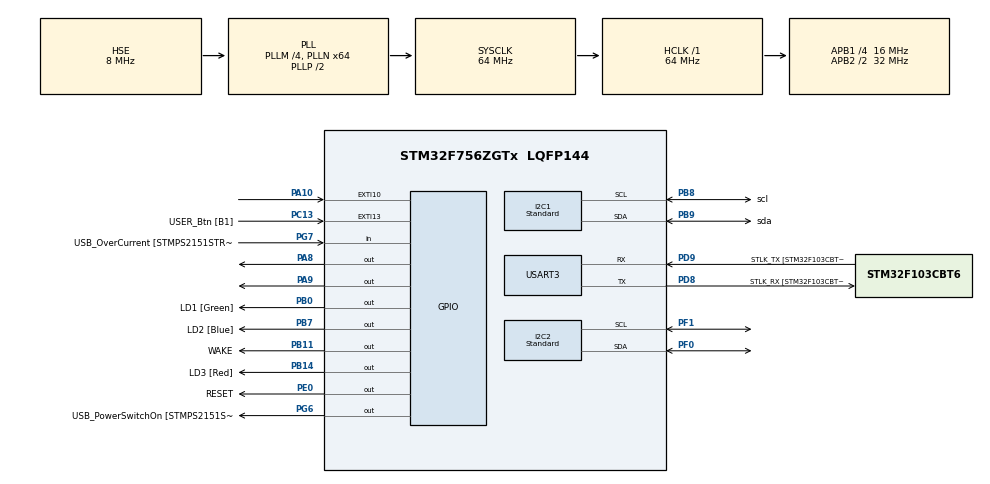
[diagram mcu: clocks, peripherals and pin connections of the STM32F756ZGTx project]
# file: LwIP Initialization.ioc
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I2C1.Analog_Filter=I2C_ANALOGFILTER_DISABLE
I2C1.I2C_Fall_Time=0
I2C1.I2C_Rise_Time=0
I2C1.I2C_Speed_Mode=I2C_Standard
I2C1.NoStretchMode=I2C_NOSTRETCH_ENABLE
I2C1.Timing=0x00303D5D
I2C2.Analog_Filter=I2C_ANALOGFILTER_DISABLE
I2C2.DualAddressMode=I2C_DUALADDRESS_DISABLE
I2C2.GeneralCallMode=I2C_GENERALCALL_DISABLE
I2C2.I2C_Speed_Mode=I2C_Standard
I2C2.NoStretchMode=I2C_NOSTRETCH_DISABLE
I2C2.Timing=0x00303D5D
Mcu.Family=STM32F7
Mcu.Name=STM32F756ZGTx
Mcu.Package=LQFP144
NVIC.PriorityGroup=NVIC_PRIORITYGROUP_4
PA1.GPIO_Label=RMII_REF_CLK [LAN8742A-CZ-TR_REFCLK0]
PA1.Signal=ETH_REF_CLK
PA10.Signal=GPXTI10
PA13.GPIO_Label=TMS
PA13.Mode=Serial_Wire
PA13.Signal=SYS_JTMS-SWDIO
PA14.GPIO_Label=TCK
PA14.Mode=Serial_Wire
PA14.Signal=SYS_JTCK-SWCLK
PA2.GPIO_Label=RMII_MDIO [LAN8742A-CZ-TR_MDIO]
PA2.Signal=ETH_MDIO
PA7.GPIO_Label=RMII_CRS_DV [LAN8742A-CZ-TR_CRS_DV]
PA7.Signal=ETH_CRS_DV
PA8.Signal=GPIO_Output
PA9.Signal=GPIO_Output
PB0.GPIO_Label=LD1 [Green]
PB0.Signal=GPIO_Output
PB11.GPIO_Label=WAKE
PB11.Signal=GPIO_Output
PB13.GPIO_Label=RMII_TXD1 [LAN8742A-CZ-TR_TXD1]
PB13.Signal=ETH_TXD1
PB14.GPIO_Label=LD3 [Red]
PB14.Signal=GPIO_Output
PB3.GPIO_Label=SWO
PB3.Signal=SYS_JTDO-SWO
PB7.GPIO_Label=LD2 [Blue]
PB7.Signal=GPIO_Output
PB8.GPIO_Label=scl
PB8.GPIO_Mode=GPIO_MODE_AF_OD
PB8.GPIO_Pu=GPIO_PULLUP
PB8.GPIO_Speed=GPIO_SPEED_FREQ_HIGH
PB8.Mode=I2C
PB8.Signal=I2C1_SCL
PB9.GPIO_Label=sda
PB9.GPIO_Mode=GPIO_MODE_AF_OD
PB9.GPIO_Pu=GPIO_PULLUP
PB9.GPIO_Speed=GPIO_SPEED_FREQ_HIGH
PB9.Mode=I2C
PB9.Signal=I2C1_SDA
PC1.GPIO_Label=RMII_MDC [LAN8742A-CZ-TR_MDC]
PC1.Signal=ETH_MDC
PC13.GPIO_Label=USER_Btn [B1]
PC13.Signal=GPXTI13
PC14/OSC32_IN.Mode=LSE-External-Oscillator
PC14/OSC32_IN.Signal=RCC_OSC32_IN
PC15/OSC32_OUT.Mode=LSE-External-Oscillator
PC15/OSC32_OUT.Signal=RCC_OSC32_OUT
PC4.GPIO_Label=RMII_RXD0 [LAN8742A-CZ-TR_RXD0]
PC4.Signal=ETH_RXD0
PC5.GPIO_Label=RMII_RXD1 [LAN8742A-CZ-TR_RXD1]
PC5.Signal=ETH_RXD1
PD8.GPIO_Label=STLK_RX [STM32F103CBT6_PA3]
PD8.Mode=Asynchronous
PD8.Signal=USART3_TX
PD9.GPIO_Label=STLK_TX [STM32F103CBT6_PA2]
PD9.Mode=Asynchronous
PD9.Signal=USART3_RX
PE0.GPIO_Label=RESET
PE0.Signal=GPIO_Output
PF0.GPIO_Pu=GPIO_PULLUP
PF0.GPIO_Speed=GPIO_SPEED_FREQ_HIGH
PF0.Mode=I2C
PF0.Signal=I2C2_SDA
PF1.GPIO_Pu=GPIO_PULLUP
PF1.GPIO_Speed=GPIO_SPEED_FREQ_HIGH
PF1.Mode=I2C
PF1.Signal=I2C2_SCL
PG11.GPIO_Label=RMII_TX_EN [LAN8742A-CZ-TR_TXEN]
PG11.Signal=ETH_TX_EN
PG13.GPIO_Label=RMII_TXD0 [LAN8742A-CZ-TR_TXD0]
PG13.Signal=ETH_TXD0
PG6.GPIO_Label=USB_PowerSwitchOn [STMPS2151STR_EN]
PG6.Signal=GPIO_Output
PG7.GPIO_Label=USB_OverCurrent [STMPS2151STR_FAULT]
PG7.Signal=GPIO_Input
PH0/OSC_IN.GPIO_Label=MCO [STM32F103CBT6_PA8]
PH0/OSC_IN.Mode=HSE-External-Clock-Source
PH0/OSC_IN.Signal=RCC_OSC_IN
PH1/OSC_OUT.Mode=HSE-External-Clock-Source
PH1/OSC_OUT.Signal=RCC_OSC_OUT
ProjectManager.HeapSize=0x200
ProjectManager.StackSize=0x400
ProjectManager.TargetToolchain=STM32CubeIDE
RCC.AHBFreq_Value=64000000
RCC.APB1CLKDivider=RCC_HCLK_DIV4
RCC.APB1Freq_Value=16000000
RCC.APB1TimFreq_Value=32000000
RCC.APB2CLKDivider=RCC_HCLK_DIV2
RCC.APB2Freq_Value=32000000
RCC.APB2TimFreq_Value=64000000
RCC.CortexFreq_Value=64000000
RCC.HCLKFreq_Value=64000000
RCC.HSE_VALUE=8000000
RCC.HSI_VALUE=16000000
RCC.PLLM=4
RCC.PLLN=64
RCC.PLLQ=9
RCC.PLLSourceVirtual=RCC_PLLSOURCE_HSE
RCC.SYSCLKFreq_VALUE=64000000
RCC.SYSCLKSource=RCC_SYSCLKSOURCE_PLLCLK
RCC.USBFreq_Value=14222222.222222222
RCC.VCOOutputFreq_Value=128000000
USART3.VirtualMode-Asynchronous=VM_ASYNC
board=custom

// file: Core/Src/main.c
/* USER CODE BEGIN Header */
/**
  ******************************************************************************
  * @file           : main.c
  * @brief          : Main program body
  ******************************************************************************
  * @attention
  *
  * <h2><center>&copy; Copyright (c) 2021 STMicroelectronics.
  * All rights reserved.</center></h2>
  *
  * This software component is licensed by ST under BSD 3-Clause license,
  * the "License"; You may not use this file except in compliance with the
  * License. You may obtain a copy of the License at:
  *                        opensource.org/licenses/BSD-3-Clause
  *
  ******************************************************************************
  */
/* USER CODE END Header */
#include "main.h"
#include "i2c.h"
#include "usart.h"
#include "gpio.h"

/* USER CODE BEGIN Includes */
#include <stdio.h>
/* USER CODE END Includes */

void SystemClock_Config(void);
/* USER CODE BEGIN PFP */
void I2C_ClearBusyFlagErratum(I2C_HandleTypeDef *hi2c);
/* Direct printf to output somewhere */
#ifdef __GNUC__
#define PUTCHAR_PROTOTYPE int __io_putchar(int ch)
#else
#define PUTCHAR_PROTOTYPE int fputc(int ch, FILE *f)
#endif /* __GNUC__ */

#ifndef __UUID_H
#define __UUID_H
//#define STM32_UUID ((uint32_t *)0x1FF0F420)
#define STM32_UUID ((uint32_t *)UID_BASE)
#endif //__UUID_H

/* USER CODE END PFP */

/* USER CODE BEGIN 0 */
//void ethernetif_notify_conn_changed(struct netif *netif);
//static void MX_NVIC_Init(void);
/* USER CODE END 0 */

int main(void)
{

  /* MCU Configuration--------------------------------------------------------*/

  /* Reset of all peripherals, Initializes the Flash interface and the Systick. */
  HAL_Init();

  /* Configure the system clock */
  SystemClock_Config();

  /* Initialize all configured peripherals */
  MX_GPIO_Init();
  MX_USART3_UART_Init();
  MX_I2C1_Init();
  MX_I2C2_Init();
  /* USER CODE BEGIN 2 */
//  HAL_I2C_MspInit(&hi2c1);
//  I2C_ClearBusyFlagErratum(&hi2c1);
//  HAL_GPIO_WritePin(WAKE_GPIO_Port, WAKE_Pin, GPIO_PIN_SET);
//  HAL_Delay(100);
  HAL_GPIO_WritePin(WAKE_GPIO_Port, WAKE_Pin, GPIO_PIN_RESET);
  HAL_GPIO_WritePin(RESET_GPIO_Port, RESET_Pin, GPIO_PIN_RESET);

     char uart2Data[25] = "Connected to UART Three\r\n";
        /*
         * Output to uart2
         * use screen or putty or whatever terminal software
         * 8N1 115200
         */
        HAL_UART_Transmit(&huart3, (uint8_t *)&uart2Data,sizeof(uart2Data), 0xFFFF);

      	printf("\r\n");

      	printf("Scanning I2C bus:\r\n");
     	HAL_StatusTypeDef result;
      	uint8_t i;
      	for (i=1; i<128; i++)
      	{
      	  /*
      	   * the HAL wants a left aligned i2c address
      	   * &hi2c1 is the handle
      	   * (uint16_t)(i<<1) is the i2c address left aligned
      	   * retries 2
      	   * timeout 2
      	   */
      	  result = HAL_I2C_IsDeviceReady(&hi2c1, (uint16_t)(i<<1), 2, 2);
      	  if (result == HAL_BUSY)
      	  {
//      		I2C_ClearBusyFlagErratum(&hi2c1);
      		printf("HAL_BUSY\r\n"); // No ACK received at that address
      	  }
      	  if (result != HAL_OK) // HAL_ERROR or HAL_BUSY or HAL_TIMEOUT
      	  {
//      		I2C_ClearBusyFlagErratum(&hi2c1);
      		  printf("."); // No ACK received at that address
      	  }
      	  if (result == HAL_OK)
      	  {
      		  printf("0x%X", i); // Received an ACK at that address
      	  }

      	  result = HAL_I2C_IsDeviceReady(&hi2c2, (uint16_t)(i<<1), 2, 2);
      	  if (result != HAL_OK) // HAL_ERROR or HAL_BUSY or HAL_TIMEOUT
      	  {
      		  printf("."); // No ACK received at that address
      	  }
      	  if (result == HAL_OK)
      	  {
      		  printf("0x%X", i); // Received an ACK at that address
      	  }
      	}
      	printf("\r\n");

  /* USER CODE END 2 */

  /* Infinite loop */
  /* USER CODE BEGIN WHILE */
  while (1)
  {
//	  MX_LWIP_Process();
	  HAL_GPIO_TogglePin(LD1_GPIO_Port, LD1_Pin);
	  HAL_Delay(500);
    /* USER CODE END WHILE */

  }
}

void SystemClock_Config(void)
{
  RCC_OscInitTypeDef RCC_OscInitStruct = {0};
  RCC_ClkInitTypeDef RCC_ClkInitStruct = {0};

  /** Configure LSE Drive Capability
  */
  HAL_PWR_EnableBkUpAccess();
  /** Configure the main internal regulator output voltage
  */
  __HAL_RCC_PWR_CLK_ENABLE();
  __HAL_PWR_VOLTAGESCALING_CONFIG(PWR_REGULATOR_VOLTAGE_SCALE3);
  /** Initializes the RCC Oscillators according to the specified parameters
  * in the RCC_OscInitTypeDef structure.
  */
  RCC_OscInitStruct.OscillatorType = RCC_OSCILLATORTYPE_HSE;
  RCC_OscInitStruct.HSEState = RCC_HSE_BYPASS;
  RCC_OscInitStruct.PLL.PLLState = RCC_PLL_ON;
  RCC_OscInitStruct.PLL.PLLSource = RCC_PLLSOURCE_HSE;
  RCC_OscInitStruct.PLL.PLLM = 4;
  RCC_OscInitStruct.PLL.PLLN = 64;
  RCC_OscInitStruct.PLL.PLLP = RCC_PLLP_DIV2;
  RCC_OscInitStruct.PLL.PLLQ = 9;
  if (HAL_RCC_OscConfig(&RCC_OscInitStruct) != HAL_OK)
  {
    Error_Handler();
  }
  /** Initializes the CPU, AHB and APB buses clocks
  */
  RCC_ClkInitStruct.ClockType = RCC_CLOCKTYPE_HCLK|RCC_CLOCKTYPE_SYSCLK
                              |RCC_CLOCKTYPE_PCLK1|RCC_CLOCKTYPE_PCLK2;
  RCC_ClkInitStruct.SYSCLKSource = RCC_SYSCLKSOURCE_PLLCLK;
  RCC_ClkInitStruct.AHBCLKDivider = RCC_SYSCLK_DIV1;
  RCC_ClkInitStruct.APB1CLKDivider = RCC_HCLK_DIV4;
  RCC_ClkInitStruct.APB2CLKDivider = RCC_HCLK_DIV2;

  if (HAL_RCC_ClockConfig(&RCC_ClkInitStruct, FLASH_LATENCY_2) != HAL_OK)
  {
    Error_Handler();
  }
}

/* USER CODE BEGIN 4 */

PUTCHAR_PROTOTYPE
{
  /* Place your implementation of fputc here */
  /* e.g. write a character to the USART2 and Loop until the end of transmission */
  HAL_UART_Transmit(&huart3, (uint8_t *)&ch, 1, 0xFFFF);

  return ch;

}

void I2C_ClearBusyFlagErratum(I2C_HandleTypeDef *i2c) {
	static uint8_t resetTried = 0;
	if (resetTried == 1) {
		return;
	}

	uint32_t SDA_PIN = sda_Pin;
	uint32_t SCL_PIN = scl_Pin;
	GPIO_InitTypeDef GPIO_InitStruct;

	// 1. Clear PE bit.
	__HAL_I2C_DISABLE(i2c);

	//  2. Configure the SCL and SDA I/Os as General Purpose Output Open-Drain, High level (Write 1 to GPIOx_ODR).

	HAL_I2C_DeInit(i2c);
	GPIO_InitStruct.Pin = SCL_PIN | SDA_PIN;
	GPIO_InitStruct.Mode = GPIO_MODE_AF_OD;
	GPIO_InitStruct.Pull = GPIO_NOPULL;
	GPIO_InitStruct.Speed = GPIO_SPEED_FREQ_HIGH;
	GPIO_InitStruct.Alternate = GPIO_AF4_I2C1;
	HAL_GPIO_Init(GPIOB, &GPIO_InitStruct);

	HAL_GPIO_Init(scl_GPIO_Port, &GPIO_InitStruct);

	HAL_GPIO_Init(sda_GPIO_Port, &GPIO_InitStruct);

	// 3. Check SCL and SDA High level in GPIOx_IDR.

	HAL_GPIO_WritePin(scl_GPIO_Port, SCL_PIN, GPIO_PIN_SET);
	HAL_GPIO_WritePin(sda_GPIO_Port, SDA_PIN, GPIO_PIN_SET);

	while (GPIO_PIN_SET != HAL_GPIO_ReadPin(scl_GPIO_Port, SCL_PIN)) {
		asm("nop");
	}

	while (GPIO_PIN_SET != HAL_GPIO_ReadPin(sda_GPIO_Port, SDA_PIN)) {
		asm("nop");
	}

	// 4. Configure the SDA I/O as General Purpose Output Open-Drain, Low level (Write 0 to GPIOx_ODR).
	HAL_GPIO_WritePin(sda_GPIO_Port, SDA_PIN, GPIO_PIN_RESET);

	//  5. Check SDA Low level in GPIOx_IDR.
	while (GPIO_PIN_RESET != HAL_GPIO_ReadPin(sda_GPIO_Port, SDA_PIN)) {
		asm("nop");
	}

	// 6. Configure the SCL I/O as General Purpose Output Open-Drain, Low level (Write 0 to GPIOx_ODR).
	HAL_GPIO_WritePin(scl_GPIO_Port, SCL_PIN, GPIO_PIN_RESET);

	//  7. Check SCL Low level in GPIOx_IDR.
	while (GPIO_PIN_RESET != HAL_GPIO_ReadPin(scl_GPIO_Port, SCL_PIN)) {
		asm("nop");
	}

	// 8. Configure the SCL I/O as General Purpose Output Open-Drain, High level (Write 1 to GPIOx_ODR).
	HAL_GPIO_WritePin(scl_GPIO_Port, SCL_PIN, GPIO_PIN_SET);

	// 9. Check SCL High level in GPIOx_IDR.
	while (GPIO_PIN_SET != HAL_GPIO_ReadPin(scl_GPIO_Port, SCL_PIN)) {
		asm("nop");
	}

	// 10. Configure the SDA I/O as General Purpose Output Open-Drain , High level (Write 1 to GPIOx_ODR).
	HAL_GPIO_WritePin(sda_GPIO_Port, SDA_PIN, GPIO_PIN_SET);

	// 11. Check SDA High level in GPIOx_IDR.
	while (GPIO_PIN_SET != HAL_GPIO_ReadPin(sda_GPIO_Port, SDA_PIN)) {
		asm("nop");
	}

	// 12. Configure the SCL and SDA I/Os as Alternate function Open-Drain.
	GPIO_InitStruct.Mode = GPIO_MODE_AF_OD;
	GPIO_InitStruct.Alternate = GPIO_AF4_I2C1;

	GPIO_InitStruct.Pin = SCL_PIN;
	HAL_GPIO_Init(scl_GPIO_Port, &GPIO_InitStruct);

	GPIO_InitStruct.Pin = SDA_PIN;
	HAL_GPIO_Init(sda_GPIO_Port, &GPIO_InitStruct);

	// 13. Set SWRST bit in I2Cx_CR1 register.
	i2c->Instance->CR1 |= 0x8000;

	asm("nop");

	// 14. Clear SWRST bit in I2Cx_CR1 register.
	i2c->Instance->CR1 &= ~0x8000;

	asm("nop");

	// 15. Enable the I2C peripheral by setting the PE bit in I2Cx_CR1 register
	i2c->Instance->CR1 |= 0x0001;

	// Call initialization function.
	HAL_I2C_Init(i2c);
}

/* USER CODE END 4 */

void Error_Handler(void)
{
  __disable_irq();
  while (1)
  {
  }
}
